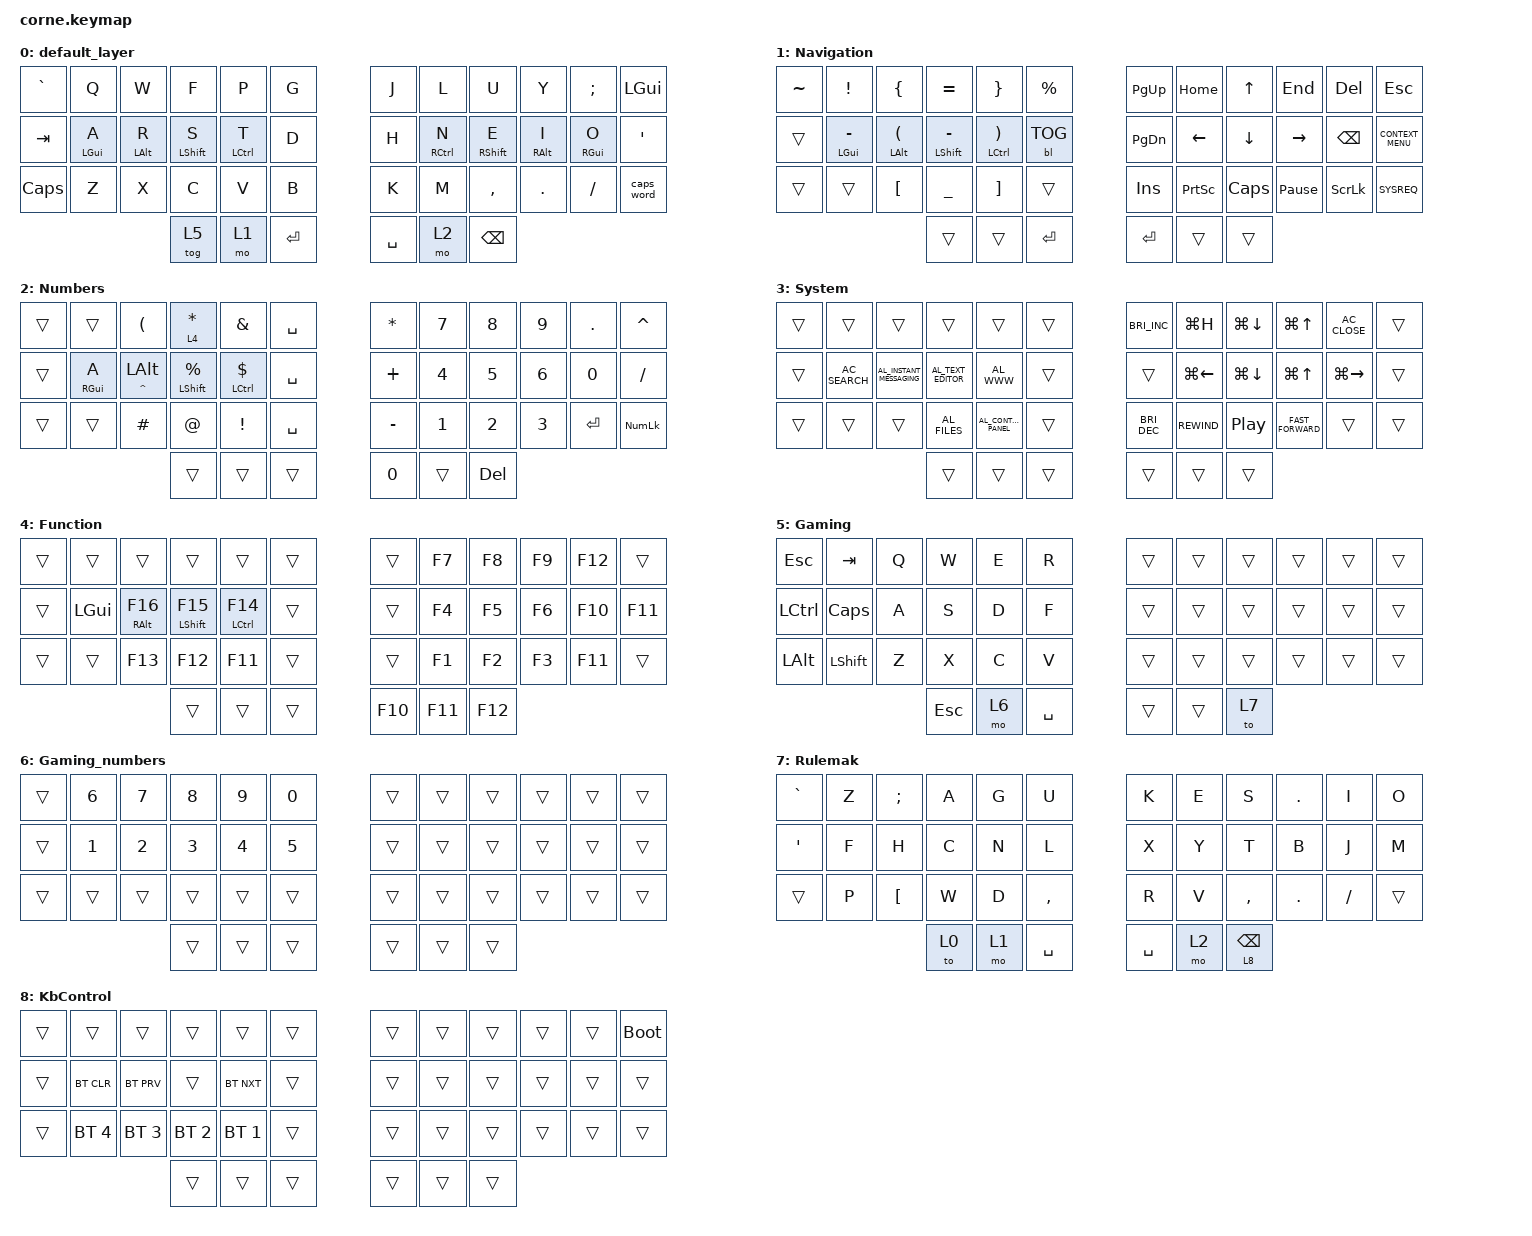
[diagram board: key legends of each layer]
/*
 * Copyright (c) 2020 The ZMK Contributors
 *
 * SPDX-License-Identifier: MIT
 */

#include <behaviors.dtsi>
#include <dt-bindings/zmk/backlight.h>
#include <dt-bindings/zmk/bt.h>
#include <dt-bindings/zmk/keys.h>

/ {
    behaviors {
        hml: hml {
            compatible = "zmk,behavior-hold-tap";
            label = "HML";
            bindings = <&kp>, <&kp>;

            #binding-cells = <2>;
            tapping-term-ms = <175>;
            hold-trigger-on-release;
            flavor = "balanced";
            hold-trigger-key-positions = <6 7 8 9 10 11 18 19 20 21 22 23 30 31 32 33 34 35 39 40 41 38 37 36>;
        };

        hmr: hmr {
            compatible = "zmk,behavior-hold-tap";
            label = "HMR";
            bindings = <&kp>, <&kp>;

            #binding-cells = <2>;
            tapping-term-ms = <175>;
            hold-trigger-on-release;
            flavor = "balanced";
            hold-trigger-key-positions = <0 1 2 3 4 5 12 13 14 15 16 17 24 25 26 27 28 29 36 37 38 41 40 39>;
        };
    };

    combos {
        compatible = "zmk,combos";

        search {
            bindings = <&kp LG(SPACE)>;
            key-positions = <0 11>;
        };
    };

    keymap {
        compatible = "zmk,keymap";

        default_layer {
            // -----------------------------------------------------------------------------------------
            // |  TAB |  Q  |  W  |  E  |  R  |  T  |   |  Y  |  U   |  I  |  O  |  P  | BKSP |
            // | CTRL |  A  |  S  |  D  |  F  |  G  |   |  H  |  J   |  K  |  L  |  ;  |  '   |
            // | SHFT |  Z  |  X  |  C  |  V  |  B  |   |  N  |  M   |  ,  |  .  |  /  | ESC  |
            //                    | GUI | LWR | SPC |   | ENT | RSE  | ALT |

            bindings = <
&kp GRAVE  &kp Q            &kp W            &kp F              &kp P                &kp G         &kp J      &kp L         &kp U               &kp Y             &kp SEMICOLON     &kp LGUI
&kp TAB    &hmr LEFT_GUI A  &hmr LEFT_ALT R  &hmr LEFT_SHIFT S  &hmr LEFT_CONTROL T  &kp D         &kp H      &hml RCTRL N  &hml RIGHT_SHIFT E  &hml RIGHT_ALT I  &hml RIGHT_GUI O  &kp SQT
&kp CAPS   &kp Z            &kp X            &kp C              &kp V                &kp B         &kp K      &kp M         &kp COMMA           &kp DOT           &kp FSLH          &caps_word
                                             &tog 5             &mo 1                &kp RETURN    &kp SPACE  &mo 2         &kp BACKSPACE
            >;
        };

        Navigation {
            // -----------------------------------------------------------------------------------------
            // |  TAB |  !  |  @  |  #  |  $  |  %  |   |  ^  |  &  |  *  |  (  |  )  | BKSP |
            // | CTRL |     |     |     |     |     |   |  -  |  =  |  [  |  ]  |  \  |  `   |
            // | SHFT |     |     |     |     |     |   |  _  |  +  |  {  |  }  | "|" |  ~   |
            //                    | GUI |     | SPC |   | ENT |     | ALT |

            bindings = <
&kp TILDE  &kp EXCL             &kp LEFT_BRACE                  &kp EQUAL              &kp RIGHT_BRACE                      &kp PRCNT     &kp PAGE_UP    &kp HOME         &kp UP_ARROW  &kp END          &kp DELETE      &kp ESCAPE
&trans     &hmr LEFT_GUI MINUS  &hmr LEFT_ALT LEFT_PARENTHESIS  &hmr LEFT_SHIFT MINUS  &hmr LEFT_CONTROL RIGHT_PARENTHESIS  &bl BL_TOG    &kp PAGE_DOWN  &kp LEFT         &kp DOWN      &kp RIGHT        &kp BACKSPACE   &kp K_CONTEXT_MENU
&trans     &trans               &kp LEFT_BRACKET                &kp UNDERSCORE         &kp RIGHT_BRACKET                    &trans        &kp INSERT     &kp PRINTSCREEN  &kp CAPSLOCK  &kp PAUSE_BREAK  &kp SCROLLLOCK  &kp SYSREQ
                                                                &trans                 &trans                               &kp ENTER     &kp ENTER      &trans           &trans
            >;
        };

        Numbers {
            // -----------------------------------------------------------------------------------------
            // |  TAB |  1  |  2  |  3  |  4  |  5  |   |  6  |  7  |  8  |  9  |  0  | BKSP |
            // | BTCLR| BT1 | BT2 | BT3 | BT4 | BT5 |   | LFT | DWN |  UP | RGT |     |      |
            // | SHFT |     |     |     |     |     |   |     |     |     |     |     |      |
            //                    | GUI |     | SPC |   | ENT |     | ALT |

            bindings = <
&trans  &trans       &kp LEFT_PARENTHESIS  &lt 4 STAR               &kp AMPERSAND             &kp SPACE    &kp ASTERISK  &kp N7        &kp N8        &kp N9        &kp DOT       &kp CARET
&trans  &hmr RGUI A  &hmr CARET LEFT_ALT   &hmr LEFT_SHIFT PERCENT  &hmr LEFT_CONTROL DOLLAR  &kp SPACE    &kp PLUS      &kp NUMBER_4  &kp N5        &kp NUMBER_6  &kp NUMBER_0  &kp SLASH
&trans  &trans       &kp HASH              &kp AT                   &kp EXCL                  &kp SPACE    &kp MINUS     &kp NUMBER_1  &kp NUMBER_2  &kp NUMBER_3  &kp ENTER     &kp KP_NUMLOCK
                                           &trans                   &trans                    &trans       &kp N0        &trans        &kp DELETE
            >;
        };

        System {
            bindings = <
&trans  &trans           &trans                      &trans                &trans                  &trans    &kp C_BRIGHTNESS_INC  &kp LG(H)     &kp LG(DOWN)      &kp LG(UP)          &kp C_AC_CLOSE  &trans
&trans  &kp C_AC_SEARCH  &kp C_AL_INSTANT_MESSAGING  &kp C_AL_TEXT_EDITOR  &kp C_AL_WWW            &trans    &trans                &kp LG(LEFT)  &kp LG(DOWN)      &kp LG(UP_ARROW)    &kp LG(RIGHT)   &trans
&trans  &trans           &trans                      &kp C_AL_FILES        &kp C_AL_CONTROL_PANEL  &trans    &kp C_BRIGHTNESS_DEC  &kp C_REWIND  &kp C_PLAY_PAUSE  &kp C_FAST_FORWARD  &trans          &trans
                                                     &trans                &trans                  &trans    &trans                &trans        &trans
            >;
        };

        Function {
            bindings = <
&trans  &trans    &trans         &trans               &trans                 &trans    &trans   &kp F7   &kp F8   &kp F9  &kp F12  &trans
&trans  &kp LGUI  &hmr RALT F16  &hmr LEFT_SHIFT F15  &hmr LEFT_CONTROL F14  &trans    &trans   &kp F4   &kp F5   &kp F6  &kp F10  &kp F11
&trans  &trans    &kp F13        &kp F12              &kp F11                &trans    &trans   &kp F1   &kp F2   &kp F3  &kp F11  &trans
                                 &trans               &trans                 &trans    &kp F10  &kp F11  &kp F12
            >;
        };

        Gaming {
            bindings = <
&kp ESCAPE    &kp TAB       &kp Q  &kp W       &kp E  &kp R        &trans  &trans  &trans  &trans  &trans  &trans
&kp LCTRL     &kp CAPSLOCK  &kp A  &kp S       &kp D  &kp F        &trans  &trans  &trans  &trans  &trans  &trans
&kp LEFT_ALT  &kp LSHIFT    &kp Z  &kp X       &kp C  &kp V        &trans  &trans  &trans  &trans  &trans  &trans
                                   &kp ESCAPE  &mo 6  &kp SPACE    &trans  &trans  &to 7
            >;
        };

        Gaming_numbers {
            bindings = <
&trans  &kp N6        &kp N7        &kp N8        &kp N9        &kp N0    &trans  &trans  &trans  &trans  &trans  &trans
&trans  &kp NUMBER_1  &kp NUMBER_2  &kp NUMBER_3  &kp NUMBER_4  &kp N5    &trans  &trans  &trans  &trans  &trans  &trans
&trans  &trans        &trans        &trans        &trans        &trans    &trans  &trans  &trans  &trans  &trans  &trans
                                    &trans        &trans        &trans    &trans  &trans  &trans
            >;
        };

        Rulemak {
            bindings = <
&kp GRAVE  &kp Z  &kp SEMI  &kp A  &kp G  &kp U        &kp K      &kp E  &kp S            &kp DOT  &kp I     &kp O
&kp SQT    &kp F  &kp H     &kp C  &kp N  &kp L        &kp X      &kp Y  &kp T            &kp B    &kp J     &kp M
&trans     &kp P  &kp LBKT  &kp W  &kp D  &kp COMMA    &kp R      &kp V  &kp COMMA        &kp DOT  &kp FSLH  &trans
                            &to 0  &mo 1  &kp SPACE    &kp SPACE  &mo 2  &lt 8 BACKSPACE
            >;
        };

        KbControl {
            bindings = <
&trans  &trans        &trans        &trans        &trans        &trans    &trans  &trans  &trans  &trans  &trans  &bootloader
&trans  &bt BT_CLR    &bt BT_PRV    &trans        &bt BT_NXT    &trans    &trans  &trans  &trans  &trans  &trans  &trans
&trans  &bt BT_SEL 4  &bt BT_SEL 3  &bt BT_SEL 2  &bt BT_SEL 1  &trans    &trans  &trans  &trans  &trans  &trans  &trans
                                    &trans        &trans        &trans    &trans  &trans  &trans
            >;
        };
    };
};
